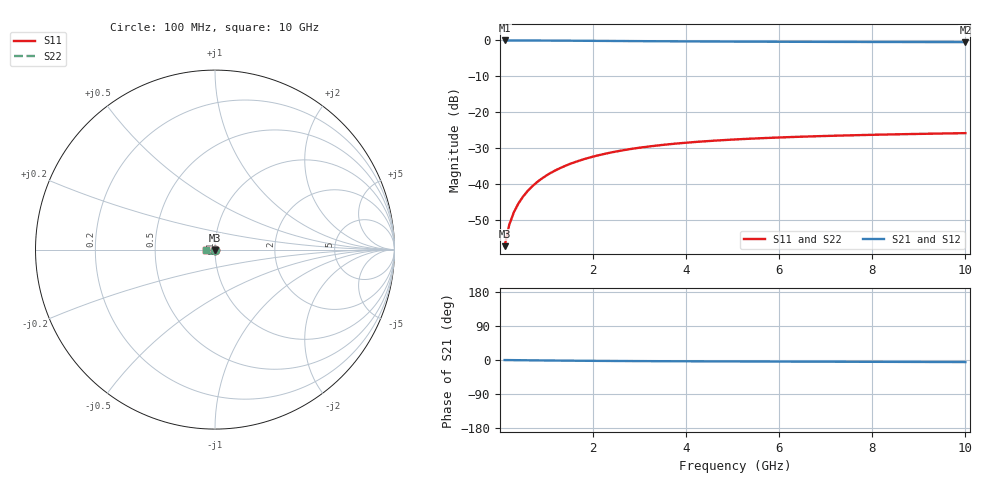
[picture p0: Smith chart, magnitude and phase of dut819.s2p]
! Touchstone file exported from HFSS 2024.1.0
!  File:  C:/UserFiles/LocalFiles/RDL_TSV_Batchsim/temp_TSV1_819_1779877955.aedt
!  Generated:  06:40:16 PM May 27, 2026
!  Design:  TSV1
!  Project:  temp_TSV1_819_1779877955
!  Setup:  Setup1
!  Solution:  Sweep
! Variables:
!  dtsv = 10.17um
!  hbump = 3um
!  htsv = 86.24um
!  lrdl = 252.1521522um
!  p = 40
!  p1 = 46.58um
!  t = 500um
!  trdl = 3um
!  wrdl = 24.89489489um
# GHz S MA R 50.000000
! Terminal data exported
! Port[1] = TSV22_T1
! Port[2] = TSV22_T2
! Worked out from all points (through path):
!   100 points, 100 MHz to 10 GHz, reference 50 ohm
!   highest |S21| = 0.00 dB at 100 MHz (marker M1); lowest = -0.5 dB at 10 GHz (marker M2)
!   lowest |S11| = -57.4 dB at 100 MHz (marker M3), VSWR 1.00, Z = 50 - j0.135 ohm
!   |S11| at or under -10 dB: start of sweep to end of sweep
!   |S22| runs from -57.4 to -25.9 dB; largest |S21 - S12| = 6.3e-15
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0.1  0.001351 -85.4  0.9998 -0.1  0.9998 -0.1  0.001351 -85.4
! Gamma 0 0 0 0
! Port Impedance 50 0 50 0
0.2  0.002691 -90.0  0.9997 -0.3  0.9997 -0.3  0.002691 -90.0
0.3  0.004033 -92.7  0.9995 -0.4  0.9995 -0.4  0.004033 -92.7
0.4  0.005371 -94.8  0.9992 -0.5  0.9992 -0.5  0.005371 -94.8
0.5  0.006701 -96.8  0.9988 -0.6  0.9988 -0.6  0.006701 -96.8
0.6  0.008018 -98.7  0.9984 -0.8  0.9984 -0.8  0.008018 -98.7
0.7  0.009319 -100.5  0.9979 -0.9  0.9979 -0.9  0.009319 -100.5
0.8  0.0106 -102.2  0.9973 -1.0  0.9973 -1.0  0.0106 -102.2
0.9  0.01186 -103.9  0.9967 -1.1  0.9967 -1.1  0.01186 -103.9
1.1  0.01432 -107.3  0.9953 -1.4  0.9953 -1.4  0.01432 -107.3
1.4  0.0178 -112.0  0.9929 -1.7  0.9929 -1.7  0.0178 -112.0
1.6  0.01997 -115.0  0.9912 -1.9  0.9912 -1.9  0.01997 -115.0
1.8  0.02203 -117.9  0.9894 -2.1  0.9894 -2.1  0.02203 -117.9
2.1  0.02488 -122.0  0.9865 -2.3  0.9865 -2.3  0.02488 -122.0
2.5  0.02827 -127.0  0.9827 -2.6  0.9827 -2.6  0.02827 -127.0
2.9  0.03122 -131.6  0.979 -2.9  0.979 -2.9  0.03122 -131.6
3.4  0.03436 -136.9  0.9747 -3.1  0.9747 -3.1  0.03436 -136.9
4.2  0.03836 -144.1  0.9687 -3.5  0.9687 -3.5  0.03836 -144.1
5.1  0.04175 -150.9  0.9632 -3.8  0.9632 -3.8  0.04175 -150.9
6.7  0.04592 -160.5  0.9561 -4.4  0.9561 -4.4  0.04592 -160.5
8.4  0.04889 -168.6  0.9511 -4.9  0.9511 -4.9  0.04889 -168.6
10  0.05094 -174.9  0.9478 -5.5  0.9478 -5.5  0.05094 -174.9
